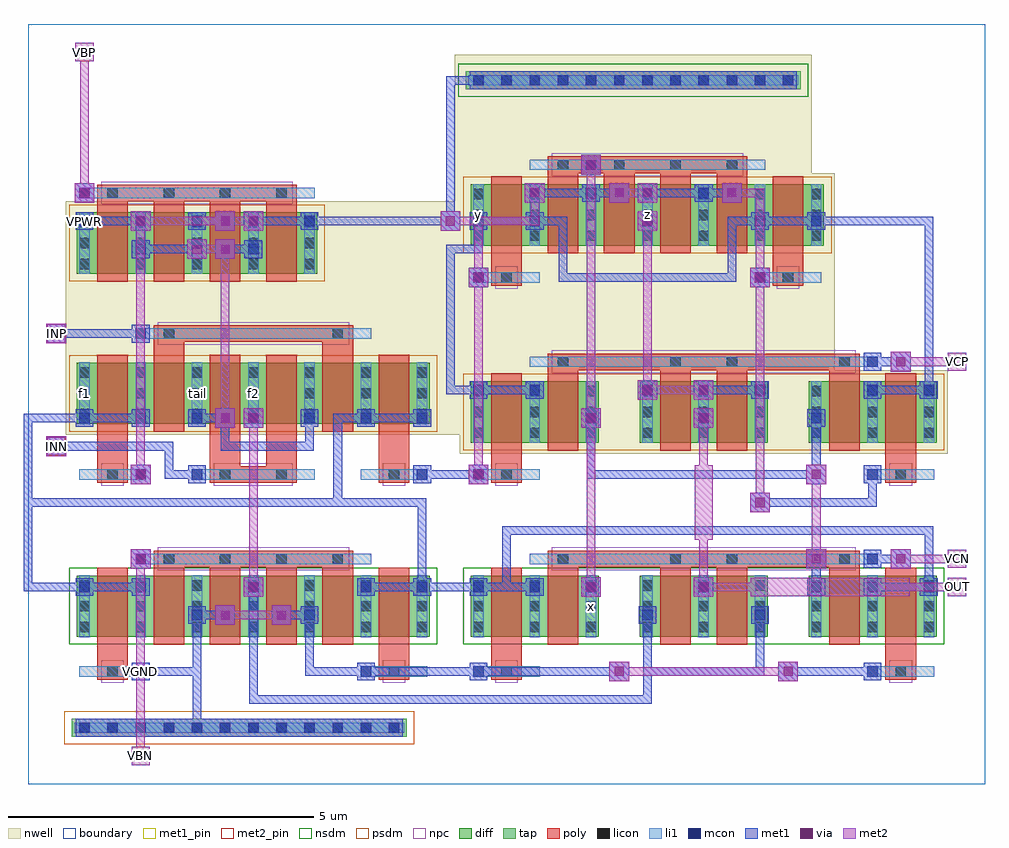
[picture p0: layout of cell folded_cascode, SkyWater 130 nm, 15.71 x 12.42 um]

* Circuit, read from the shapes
.subckt folded_cascode INN INP OUT VBN VBP VCN VCP VGND VPWR f1 f2 tail x y z
XM1 f1 VGND f1 VGND sky130_fd_pr__nfet_01v8 w=1 l=0.5 m=4
XM2 VGND VBN f1 VGND sky130_fd_pr__nfet_01v8 w=1 l=0.5 m=2
XM3 f2 VBN VGND VGND sky130_fd_pr__nfet_01v8 w=1 l=0.5 m=2
XM4 x VCN f1 VGND sky130_fd_pr__nfet_01v8 w=1 l=0.5 m=2
XM5 OUT VCN f2 VGND sky130_fd_pr__nfet_01v8 w=1 l=0.5 m=2
XM6 f1 VPWR f1 VPWR sky130_fd_pr__pfet_01v8 w=1 l=0.5 m=2
XM7 tail VBP VPWR VPWR sky130_fd_pr__pfet_01v8 w=1 l=0.5 m=4
XM8 tail INP f1 VPWR sky130_fd_pr__pfet_01v8 w=1 l=0.5 m=2
XM9 f2 INN tail VPWR sky130_fd_pr__pfet_01v8 w=1 l=0.5 m=2
XM10 y VPWR y VPWR sky130_fd_pr__pfet_01v8 w=1 l=0.5 m=4
XM11 x VCP y VPWR sky130_fd_pr__pfet_01v8 w=1 l=0.5 m=2
XM12 VPWR x y VPWR sky130_fd_pr__pfet_01v8 w=1 l=0.5 m=2
XM13 z x VPWR VPWR sky130_fd_pr__pfet_01v8 w=1 l=0.5 m=2
XM14 OUT VCP z VPWR sky130_fd_pr__pfet_01v8 w=1 l=0.5 m=2
.ends

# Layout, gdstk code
import gdstk
lib = gdstk.Library(unit=1e-6, precision=1e-09)
def R(c, l, rs):  # rectangles x0, y0, x1, y1
    for r in rs: c.add(gdstk.rectangle(r[:2], r[2:], *l))
def A(c, l, x, y, w, h, nx, ny, dx, dy):  # array of equal rectangles
    R(c, l, [(x+i*dx, y+j*dy, x+i*dx+w, y+j*dy+h) for i in range(nx) for j in range(ny)])
nwell = (64, 20)
diff = (65, 20)
tap = (65, 44)
poly = (66, 20)
licon = (66, 44)
li1 = (67, 20)
mcon = (67, 44)
met1_pin = (68, 16)
met1 = (68, 20)
via = (68, 44)
met2_pin = (69, 16)
met2 = (69, 20)
nsdm = (93, 44)
psdm = (94, 20)
npc = (95, 20)
boundary = (235, 4)

folded_cascode = lib.new_cell('folded_cascode')
R(folded_cascode, nwell, [(7.055,5.4,15.025,5.705), (0.615,5.705,15.025,6.76), (0.615,6.76,13.185,9.52), (6.975,9.52,13.185,9.98), (6.975,9.98,12.805,11.92)])
A(folded_cascode, diff, 7.235, 2.405, 2.09, 1, 3, 2, 2.76, 3.175)
R(folded_cascode, diff, [(0.795,2.405,6.565,3.405), (0.795,5.885,6.565,6.885), (0.795,8.34,4.725,9.34), (7.235,8.8,13.005,9.8)])
R(folded_cascode, tap, [(0.715,0.775,6.185,1.065), (7.155,11.355,12.625,11.645)])
A(folded_cascode, poly, 7.57, 1.705, 0.5, 0.27, 1, 3, 0, 3.22)
A(folded_cascode, poly, 2.05, 2.275, 0.5, 1.405, 4, 1, 0.92, 0)
A(folded_cascode, poly, 1.13, 8.21, 0.5, 1.45, 4, 1, 0.92, 0)
A(folded_cascode, poly, 8.49, 8.67, 0.5, 1.45, 4, 1, 0.92, 0)
R(folded_cascode, poly, [(1.13,1.705,1.63,1.975), (5.73,1.705,6.23,1.975), (14.01,1.705,14.51,1.975), (1.13,1.84,1.63,3.535), (5.73,1.84,6.23,3.535), (7.57,1.84,8.07,3.535), (14.01,1.84,14.51,3.535), (8.49,2.275,8.99,3.68), (10.33,2.275,10.83,3.68), (11.25,2.275,11.75,3.68), (13.09,2.275,13.59,3.68), (2.05,3.545,5.31,3.815), (8.49,3.545,13.59,3.815), (1.13,4.925,1.63,5.195), (2.97,4.925,4.39,5.195), (5.73,4.925,6.23,5.195), (14.01,4.925,14.51,5.195), (1.13,5.06,1.63,7.015), (2.97,5.06,3.47,7.015), (3.89,5.06,4.39,7.015), (5.73,5.06,6.23,7.015), (7.57,5.06,8.07,6.71), (14.01,5.06,14.51,6.71), (8.49,5.45,8.99,6.9), (10.33,5.45,10.83,6.9), (11.25,5.45,11.75,6.9), (13.09,5.45,13.59,6.9), (2.05,5.755,2.55,7.36), (4.81,5.755,5.31,7.36), (8.49,6.765,13.59,7.035), (2.05,7.225,5.31,7.495), (12.17,8.145,12.67,8.415), (7.57,8.28,8.07,9.93), (12.17,8.28,12.67,9.93), (1.13,9.525,4.39,9.795), (8.49,9.985,11.75,10.255)])
A(folded_cascode, licon, 0.835, 0.835, 0.17, 0.17, 12, 1, 0.46, 0)
A(folded_cascode, licon, 0.835, 2.48, 0.17, 0.17, 16, 3, 0.92, 0.34)
A(folded_cascode, licon, 2.215, 3.595, 0.17, 0.17, 4, 1, 0.92, 0)
A(folded_cascode, licon, 4.055, 4.975, 0.17, 0.17, 3, 1, 1.84, 0)
A(folded_cascode, licon, 7.275, 5.655, 0.17, 0.17, 9, 3, 0.92, 0.34)
A(folded_cascode, licon, 0.835, 5.96, 0.17, 0.17, 7, 3, 0.92, 0.34)
A(folded_cascode, licon, 0.835, 8.415, 0.17, 0.17, 5, 3, 0.92, 0.34)
A(folded_cascode, licon, 7.275, 8.875, 0.17, 0.17, 7, 3, 0.92, 0.34)
A(folded_cascode, licon, 1.295, 9.575, 0.17, 0.17, 4, 1, 0.92, 0)
A(folded_cascode, licon, 8.655, 10.035, 0.17, 0.17, 4, 1, 0.92, 0)
A(folded_cascode, licon, 7.275, 11.415, 0.17, 0.17, 12, 1, 0.46, 0)
R(folded_cascode, licon, [(1.295,1.755,1.465,1.925), (5.895,1.755,6.065,1.925), (7.735,1.755,7.905,1.925), (14.175,1.755,14.345,1.925), (8.655,3.595,8.825,3.765), (10.495,3.595,10.665,3.765), (11.415,3.595,11.585,3.765), (13.255,3.595,13.425,3.765), (1.295,4.975,1.465,5.145), (3.135,4.975,3.305,5.145), (14.175,4.975,14.345,5.145), (8.655,6.815,8.825,6.985), (10.495,6.815,10.665,6.985), (11.415,6.815,11.585,6.985), (13.255,6.815,13.425,6.985), (2.215,7.275,2.385,7.445), (4.975,7.275,5.145,7.445), (7.735,8.195,7.905,8.365), (12.335,8.195,12.505,8.365)])
A(folded_cascode, li1, 7.275, 1.755, 1.09, 0.17, 1, 3, 0, 3.22)
A(folded_cascode, li1, 0.835, 2.4, 0.17, 1.01, 16, 1, 0.92, 0)
A(folded_cascode, li1, 7.275, 5.575, 0.17, 1.01, 9, 1, 0.92, 0)
A(folded_cascode, li1, 0.835, 5.88, 0.17, 1.01, 7, 1, 0.92, 0)
A(folded_cascode, li1, 0.835, 8.335, 0.17, 1.01, 5, 1, 0.92, 0)
A(folded_cascode, li1, 7.275, 8.795, 0.17, 1.01, 7, 1, 0.92, 0)
R(folded_cascode, li1, [(0.755,0.835,6.145,1.005), (0.835,1.755,1.925,1.925), (5.435,1.755,6.525,1.925), (13.715,1.755,14.805,1.925), (1.755,3.595,5.605,3.765), (8.195,3.595,13.885,3.765), (0.835,4.975,1.925,5.145), (2.675,4.975,4.685,5.145), (5.435,4.975,6.525,5.145), (13.715,4.975,14.805,5.145), (8.195,6.815,13.885,6.985), (1.755,7.275,5.605,7.445), (11.875,8.195,12.965,8.365), (0.835,9.575,4.685,9.745), (8.195,10.035,12.045,10.205), (7.195,11.415,12.585,11.585)])
A(folded_cascode, mcon, 0.835, 0.835, 0.17, 0.17, 12, 1, 0.46, 0)
A(folded_cascode, mcon, 1.755, 3.135, 0.17, 0.17, 3, 1, 1.84, 0)
A(folded_cascode, mcon, 6.355, 3.135, 0.17, 0.17, 4, 1, 0.92, 0)
A(folded_cascode, mcon, 12.795, 3.135, 0.17, 0.17, 3, 1, 0.92, 0)
A(folded_cascode, mcon, 0.835, 5.895, 0.17, 0.17, 7, 1, 0.92, 0)
A(folded_cascode, mcon, 9.115, 5.895, 0.17, 0.17, 3, 1, 1.84, 0)
A(folded_cascode, mcon, 8.195, 6.355, 0.17, 0.17, 4, 1, 1.84, 0)
A(folded_cascode, mcon, 0.835, 9.115, 0.17, 0.17, 3, 1, 1.84, 0)
A(folded_cascode, mcon, 8.195, 9.115, 0.17, 0.17, 3, 1, 1.84, 0)
A(folded_cascode, mcon, 7.275, 11.415, 0.17, 0.17, 12, 1, 0.46, 0)
R(folded_cascode, mcon, [(1.755,1.755,1.925,1.925), (5.435,1.755,5.605,1.925), (7.275,1.755,7.445,1.925), (13.715,1.755,13.885,1.925), (2.675,2.675,2.845,2.845), (4.515,2.675,4.685,2.845), (10.035,2.675,10.205,2.845), (11.875,2.675,12.045,2.845), (0.835,3.135,1.005,3.305), (10.955,3.135,11.125,3.305), (1.755,3.595,1.925,3.765), (13.715,3.595,13.885,3.765), (1.755,4.975,1.925,5.145), (2.675,4.975,2.845,5.145), (6.355,4.975,6.525,5.145), (7.275,4.975,7.445,5.145), (13.715,4.975,13.885,5.145), (7.275,6.355,7.445,6.525), (14.635,6.355,14.805,6.525), (13.715,6.815,13.885,6.985), (1.755,7.275,1.925,7.445), (7.275,8.195,7.445,8.365), (11.875,8.195,12.045,8.365), (1.755,8.655,1.925,8.825), (3.595,8.655,3.765,8.825), (7.275,9.115,7.445,9.285), (12.795,9.115,12.965,9.285), (0.835,9.575,1.005,9.745), (9.115,9.575,9.285,9.745), (10.955,9.575,11.125,9.745), (9.115,10.035,9.285,10.205)])
R(folded_cascode, met1_pin, [(1.695,1.695,1.985,1.985), (0.775,9.055,1.065,9.345)])
A(folded_cascode, met1, 2.69, 2.69, 0.6, 0.14, 1, 3, 0, 3.22)
A(folded_cascode, met1, 1.695, 3.075, 0.29, 0.29, 3, 1, 1.84, 0)
A(folded_cascode, met1, 6.295, 3.075, 0.29, 0.29, 4, 1, 0.92, 0)
A(folded_cascode, met1, 12.735, 3.075, 0.29, 0.29, 3, 1, 0.92, 0)
A(folded_cascode, met1, 5.45, 3.15, 1.06, 0.14, 3, 1, 0.92, 0)
A(folded_cascode, met1, 1.68, 4.9, 0.32, 0.32, 3, 1, 5.52, 0)
A(folded_cascode, met1, 0.775, 5.835, 0.29, 0.29, 7, 1, 0.92, 0)
A(folded_cascode, met1, 9.055, 5.835, 0.29, 0.29, 3, 1, 1.84, 0)
A(folded_cascode, met1, 8.135, 6.295, 0.29, 0.29, 4, 1, 1.84, 0)
A(folded_cascode, met1, 3.52, 9.04, 0.32, 0.32, 3, 1, 3.22, 0)
A(folded_cascode, met1, 0.775, 9.055, 0.29, 0.29, 3, 1, 1.84, 0)
A(folded_cascode, met1, 8.135, 9.055, 0.29, 0.29, 3, 1, 1.84, 0)
R(folded_cascode, met1, [(0.775,0.775,6.125,1.065), (2.69,0.85,2.83,0.99), (2.69,0.85,2.83,2.83), (3.61,1.31,10.19,1.45), (3.61,1.31,3.75,3.29), (10.05,1.31,10.19,2.83), (9.5,1.68,9.82,2), (12.26,1.68,12.58,2), (1.695,1.695,1.985,1.985), (5.375,1.695,5.665,1.985), (7.215,1.695,7.505,1.985), (13.655,1.695,13.945,1.985), (1.77,1.77,2.83,1.91), (4.53,1.77,5.59,1.91), (4.53,1.77,4.67,2.83), (5.45,1.77,7.43,1.91), (7.29,1.77,9.73,1.91), (10.05,1.77,12.03,1.91), (11.89,1.77,12.03,2.83), (12.35,1.77,13.87,1.91), (3.06,2.6,3.38,2.92), (3.98,2.6,4.3,2.92), (2.615,2.615,2.905,2.905), (4.455,2.615,4.745,2.905), (9.975,2.615,10.265,2.905), (11.815,2.615,12.105,2.905), (4.07,2.69,4.67,2.83), (3.52,3.06,3.84,3.38), (9.04,3.06,9.36,3.38), (10.88,3.06,11.2,3.38), (0.775,3.075,1.065,3.365), (10.895,3.075,11.185,3.365), (-0.07,3.15,0.99,3.29), (-0.07,3.15,0.07,6.05), (0.85,3.15,1.91,3.29), (6.37,3.15,6.51,4.67), (7.75,3.15,7.89,4.21), (12.81,3.15,12.95,3.75), (13.73,3.15,14.79,3.29), (14.65,3.15,14.79,4.21), (1.68,3.52,2,3.84), (12.72,3.52,13.04,3.84), (14.1,3.52,14.42,3.84), (1.695,3.535,1.985,3.825), (13.655,3.535,13.945,3.825), (13.73,3.61,14.33,3.75), (7.75,4.07,14.79,4.21), (11.8,4.44,12.12,4.76), (-0.07,4.53,5.13,4.67), (4.99,4.53,6.51,4.67), (4.99,4.53,5.13,6.05), (11.89,4.53,13.87,4.67), (13.73,4.53,13.87,5.13), (1.695,4.915,1.985,5.205), (2.615,4.915,2.905,5.205), (6.295,4.915,6.585,5.205), (7.215,4.915,7.505,5.205), (13.655,4.915,13.945,5.205), (2.23,4.99,2.37,5.59), (2.23,4.99,2.83,5.13), (6.37,4.99,7.43,5.13), (9.13,4.99,9.27,6.05), (9.13,4.99,12.95,5.13), (12.81,4.99,12.95,6.05), (0.3,5.36,0.62,5.68), (0.39,5.45,2.37,5.59), (3.15,5.45,3.29,6.05), (3.15,5.45,4.67,5.59), (4.53,5.45,4.67,6.05), (3.06,5.82,3.38,6.14), (3.52,5.82,3.84,6.14), (9.04,5.82,9.36,6.14), (10.88,5.82,11.2,6.14), (-0.07,5.91,0.99,6.05), (0.85,5.91,1.91,6.05), (4.99,5.91,5.59,6.05), (5.45,5.91,6.51,6.05), (9.96,6.28,10.28,6.6), (10.88,6.28,11.2,6.6), (7.215,6.295,7.505,6.585), (14.575,6.295,14.865,6.585), (6.83,6.37,7.43,6.51), (6.83,6.37,6.97,8.81), (7.29,6.37,8.35,6.51), (10.97,6.37,12.03,6.51), (13.73,6.37,14.79,6.51), (14.65,6.37,14.79,9.27), (14.1,6.74,14.42,7.06), (13.655,6.755,13.945,7.045), (13.73,6.83,14.33,6.97), (0.3,7.2,0.62,7.52), (1.695,7.215,1.985,7.505), (0.39,7.29,1.91,7.43), (7.2,8.12,7.52,8.44), (11.8,8.12,12.12,8.44), (7.215,8.135,7.505,8.425), (11.815,8.135,12.105,8.425), (8.67,8.21,8.81,9.27), (8.67,8.21,11.57,8.35), (11.43,8.21,11.57,9.27), (2.6,8.58,2.92,8.9), (3.06,8.58,3.38,8.9), (1.695,8.595,1.985,8.885), (3.535,8.595,3.825,8.885), (1.77,8.67,2.83,8.81), (3.15,8.67,3.75,8.81), (6.83,8.67,7.43,8.81), (7.29,8.67,7.43,9.27), (1.68,9.04,2,9.36), (3.06,9.04,3.38,9.36), (7.215,9.055,7.505,9.345), (12.735,9.055,13.025,9.345), (0.85,9.13,1.91,9.27), (3.61,9.13,4.67,9.27), (4.53,9.13,6.97,9.27), (6.83,9.13,6.97,11.57), (7.29,9.13,8.35,9.27), (8.21,9.13,8.81,9.27), (11.43,9.13,12.03,9.27), (11.89,9.13,12.95,9.27), (12.81,9.13,14.79,9.27), (0.76,9.5,1.08,9.82), (8.12,9.5,8.44,9.82), (9.5,9.5,9.82,9.82), (9.96,9.5,10.28,9.82), (11.34,9.5,11.66,9.82), (0.775,9.515,1.065,9.805), (9.055,9.515,9.345,9.805), (10.895,9.515,11.185,9.805), (8.21,9.59,9.27,9.73), (9.13,9.59,9.73,9.73), (10.05,9.59,11.11,9.73), (10.97,9.59,11.57,9.73), (9.04,9.96,9.36,10.28), (9.055,9.975,9.345,10.265), (7.215,11.355,12.565,11.645), (6.83,11.43,7.43,11.57), (7.29,11.43,7.43,11.57)])
A(folded_cascode, via, 1.765, 4.985, 0.15, 0.15, 3, 1, 5.52, 0)
A(folded_cascode, via, 3.605, 9.125, 0.15, 0.15, 3, 1, 3.22, 0)
R(folded_cascode, via, [(9.585,1.765,9.735,1.915), (12.345,1.765,12.495,1.915), (3.145,2.685,3.295,2.835), (4.065,2.685,4.215,2.835), (3.605,3.145,3.755,3.295), (9.125,3.145,9.275,3.295), (10.965,3.145,11.115,3.295), (1.765,3.605,1.915,3.755), (12.805,3.605,12.955,3.755), (14.185,3.605,14.335,3.755), (11.885,4.525,12.035,4.675), (0.385,5.445,0.535,5.595), (3.145,5.905,3.295,6.055), (3.605,5.905,3.755,6.055), (9.125,5.905,9.275,6.055), (10.965,5.905,11.115,6.055), (10.045,6.365,10.195,6.515), (10.965,6.365,11.115,6.515), (14.185,6.825,14.335,6.975), (0.385,7.285,0.535,7.435), (7.285,8.205,7.435,8.355), (11.885,8.205,12.035,8.355), (2.685,8.665,2.835,8.815), (3.145,8.665,3.295,8.815), (1.765,9.125,1.915,9.275), (3.145,9.125,3.295,9.275), (0.845,9.585,0.995,9.735), (8.205,9.585,8.355,9.735), (9.585,9.585,9.735,9.735), (10.045,9.585,10.195,9.735), (11.425,9.585,11.575,9.735), (9.125,10.045,9.275,10.195)])
R(folded_cascode, met2_pin, [(1.69,0.31,1.99,0.61), (15.03,3.07,15.33,3.37), (15.03,3.53,15.33,3.83), (0.31,5.37,0.61,5.67), (15.03,6.75,15.33,7.05), (0.31,7.21,0.61,7.51), (0.77,11.81,1.07,12.11)])
A(folded_cascode, met2, 1.68, 4.9, 0.32, 0.32, 3, 1, 5.52, 0)
A(folded_cascode, met2, 3.52, 9.04, 0.32, 0.32, 3, 1, 3.22, 0)
R(folded_cascode, met2, [(1.69,0.31,1.99,0.61), (1.77,0.39,1.91,0.53), (1.77,0.39,1.91,3.75), (9.5,1.68,9.82,2), (12.26,1.68,12.58,2), (9.59,1.77,12.49,1.91), (3.06,2.6,3.38,2.92), (3.98,2.6,4.3,2.92), (3.15,2.69,4.21,2.83), (3.52,3.06,3.84,3.38), (9.04,3.06,9.36,3.38), (10.88,3.06,11.2,3.38), (11.81,3.07,14.41,3.37), (15.03,3.07,15.33,3.37), (3.61,3.15,3.75,6.05), (9.13,3.15,9.27,6.05), (10.97,3.15,11.11,4.21), (10.97,3.15,12.03,3.29), (14.19,3.15,15.25,3.29), (15.11,3.15,15.25,3.29), (1.68,3.52,2,3.84), (12.72,3.52,13.04,3.84), (14.1,3.52,14.42,3.84), (15.03,3.53,15.33,3.83), (12.81,3.61,12.95,5.13), (14.19,3.61,15.25,3.75), (15.11,3.61,15.25,3.75), (10.89,3.99,11.19,5.21), (11.8,4.44,12.12,4.76), (11.89,4.53,12.03,8.35), (1.77,4.99,1.91,9.27), (7.29,4.99,7.43,8.35), (10.97,4.99,11.11,6.05), (0.3,5.36,0.62,5.68), (0.31,5.37,0.61,5.67), (0.39,5.45,0.53,5.59), (3.06,5.82,3.38,6.14), (3.52,5.82,3.84,6.14), (9.04,5.82,9.36,6.14), (10.88,5.82,11.2,6.14), (3.15,5.91,3.29,8.81), (9.13,5.91,9.27,10.19), (9.96,6.28,10.28,6.6), (10.88,6.28,11.2,6.6), (10.05,6.37,11.11,6.51), (10.05,6.37,10.19,9.27), (14.1,6.74,14.42,7.06), (15.03,6.75,15.33,7.05), (14.19,6.83,15.25,6.97), (15.11,6.83,15.25,6.97), (0.3,7.2,0.62,7.52), (0.31,7.21,0.61,7.51), (0.39,7.29,0.53,7.43), (7.2,8.12,7.52,8.44), (11.8,8.12,12.12,8.44), (7.29,8.21,7.43,9.27), (11.89,8.21,12.03,9.73), (2.6,8.58,2.92,8.9), (3.06,8.58,3.38,8.9), (2.69,8.67,3.29,8.81), (1.68,9.04,2,9.36), (3.06,9.04,3.38,9.36), (1.77,9.13,3.29,9.27), (3.15,9.13,3.75,9.27), (6.83,9.13,7.43,9.27), (7.29,9.13,8.35,9.27), (8.21,9.13,8.35,9.73), (0.76,9.5,1.08,9.82), (8.12,9.5,8.44,9.82), (9.5,9.5,9.82,9.82), (9.96,9.5,10.28,9.82), (11.34,9.5,11.66,9.82), (0.85,9.59,0.99,12.03), (9.59,9.59,10.19,9.73), (11.43,9.59,12.03,9.73), (9.04,9.96,9.36,10.28), (0.77,11.81,1.07,12.11), (0.85,11.89,0.99,12.03)])
R(folded_cascode, nsdm, [(0.67,2.28,6.69,3.53), (7.11,2.28,14.97,3.53), (7.03,11.23,12.75,11.77)])
R(folded_cascode, psdm, [(0.59,0.65,6.31,1.19), (7.11,5.455,14.97,6.705), (0.67,5.76,6.69,7.01), (0.67,8.215,4.85,9.465), (7.11,8.675,13.13,9.925)])
A(folded_cascode, npc, 7.635, 1.655, 0.37, 0.37, 1, 3, 0, 3.22)
R(folded_cascode, npc, [(1.195,1.655,1.565,2.025), (5.795,1.655,6.165,2.025), (14.075,1.655,14.445,2.025), (2.115,3.495,5.245,3.865), (8.555,3.495,13.525,3.865), (1.195,4.875,1.565,5.245), (3.035,4.875,4.325,5.245), (5.795,4.875,6.165,5.245), (14.075,4.875,14.445,5.245), (8.555,6.715,13.525,7.085), (2.115,7.175,5.245,7.545), (12.235,8.095,12.605,8.465), (1.195,9.475,4.325,9.845), (8.555,9.935,11.685,10.305)])
R(folded_cascode, boundary, [(0,0,15.64,12.42)])
folded_cascode.add(gdstk.Label('f1', (0.92,6.385), layer=67, texttype=5))
folded_cascode.add(gdstk.Label('tail', (2.76,6.385), layer=67, texttype=5))
folded_cascode.add(gdstk.Label('f2', (3.68,6.385), layer=67, texttype=5))
folded_cascode.add(gdstk.Label('x', (9.2,2.905), layer=67, texttype=5))
folded_cascode.add(gdstk.Label('y', (7.36,9.3), layer=67, texttype=5))
folded_cascode.add(gdstk.Label('z', (10.12,9.3), layer=67, texttype=5))
folded_cascode.add(gdstk.Label('VPWR', (0.92,9.2), layer=68, texttype=5))
folded_cascode.add(gdstk.Label('VGND', (1.84,1.84), layer=68, texttype=5))
folded_cascode.add(gdstk.Label('INP', (0.46,7.36), layer=69, texttype=5))
folded_cascode.add(gdstk.Label('INN', (0.46,5.52), layer=69, texttype=5))
folded_cascode.add(gdstk.Label('VBP', (0.92,11.96), layer=69, texttype=5))
folded_cascode.add(gdstk.Label('VBN', (1.84,0.46), layer=69, texttype=5))
folded_cascode.add(gdstk.Label('VCN', (15.18,3.68), layer=69, texttype=5))
folded_cascode.add(gdstk.Label('VCP', (15.18,6.9), layer=69, texttype=5))
folded_cascode.add(gdstk.Label('OUT', (15.18,3.22), layer=69, texttype=5))
folded_cascode.add(gdstk.Label('VPWR', (0.92,9.2), layer=68, texttype=16))
folded_cascode.add(gdstk.Label('VGND', (1.84,1.84), layer=68, texttype=16))
folded_cascode.add(gdstk.Label('INP', (0.46,7.36), layer=69, texttype=16))
folded_cascode.add(gdstk.Label('INN', (0.46,5.52), layer=69, texttype=16))
folded_cascode.add(gdstk.Label('VBP', (0.92,11.96), layer=69, texttype=16))
folded_cascode.add(gdstk.Label('VBN', (1.84,0.46), layer=69, texttype=16))
folded_cascode.add(gdstk.Label('VCN', (15.18,3.68), layer=69, texttype=16))
folded_cascode.add(gdstk.Label('VCP', (15.18,6.9), layer=69, texttype=16))
folded_cascode.add(gdstk.Label('OUT', (15.18,3.22), layer=69, texttype=16))

lib.write_gds('folded_cascode.gds')
